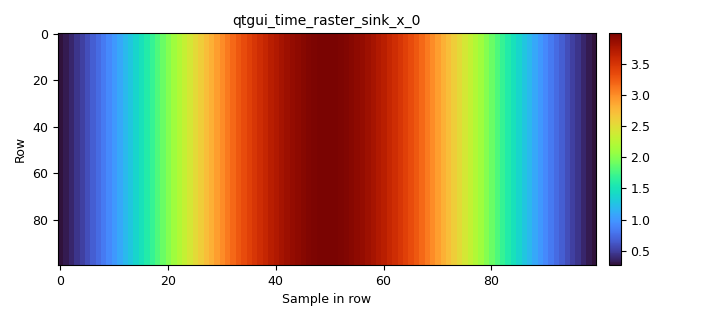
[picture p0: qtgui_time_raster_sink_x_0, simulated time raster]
options:
  parameters:
    author: citizenrich
    generate_options: qt_gui
    id: onedimension_simulation
    output_language: python
    realtime_scheduling: '1'
    title: onedimension_simulation
  states: {}

blocks:
- name: angle_radiansStartL
  id: variable
  parameters:
    value: (math.pi/180) * degreesTXL
  states: {}
- name: angle_radiansStartR
  id: variable
  parameters:
    value: (math.pi/180) * degreesTXR
  states: {}
- name: columns
  id: variable
  parameters:
    value: '100'
  states: {}
- name: degreesTXL
  id: variable_qtgui_range
  parameters:
    orient: Qt.Horizontal
    start: '0'
    step: '5'
    stop: maxtheta/2
    value: '0'
  states: {}
- name: degreesTXR
  id: variable_qtgui_range
  parameters:
    orient: Qt.Horizontal
    start: '0'
    step: '5'
    stop: maxtheta/2
    value: '0'
  states: {}
- name: left
  id: variable
  parameters:
    value: np.pad(shiftarrL, (0, int(columns/2)), 'constant')
  states: {}
- name: maxtheta
  id: variable
  parameters:
    value: '150'
  states: {}
- name: right
  id: variable
  parameters:
    value: np.flip(left, axis=0)
  states: {}
- name: rows
  id: variable
  parameters:
    value: '100'
  states: {}
- name: samp_rate
  id: variable
  parameters:
    value: '64000'
  states: {}
- name: scale
  id: variable_qtgui_range
  parameters:
    orient: Qt.Horizontal
    start: '0'
    step: '5'
    stop: '100'
    value: '55'
  states: {}
- name: shiftarrL
  id: variable
  parameters:
    value: np.radians(np.linspace(start=maxtheta, stop=0, num=int(columns/2), endpoint=False))
  states: {}
- name: variable_function_probe_0
  id: variable_function_probe
  parameters:
    block_id: blocks_probe_signal_x_0
    function_name: level
    poll_rate: '1'
    value: '1'
  states: {}
- name: variable_function_probe_0_0
  id: variable_function_probe
  parameters:
    block_id: blocks_probe_signal_x_0_0
    function_name: level
    poll_rate: '1'
    value: '0'
  states: {}
- name: variable_qtgui_label_0_0
  id: variable_qtgui_label
  parameters:
    label: Probe Signal Max
    type: int
    value: variable_function_probe_0
  states: {}
- name: variable_qtgui_label_0_0_0
  id: variable_qtgui_label
  parameters:
    label: Probe Signal Min
    type: int
    value: variable_function_probe_0_0
  states: {}
- name: analog_sig_source_x_0_0
  id: analog_sig_source_x
  parameters:
    amp: '1'
    freq: 1e3
    offset: '0'
    phase: '0'
    samp_rate: samp_rate
    type: complex
    waveform: analog.GR_COS_WAVE
  states: {}
- name: blocks_add_xx_0
  id: blocks_add_xx
  parameters:
    type: complex
  states: {}
- name: blocks_complex_to_mag_squared_0
  id: blocks_complex_to_mag_squared
  parameters: {}
  states: {}
- name: blocks_complex_to_magphase_0_0_0
  id: blocks_complex_to_magphase
  parameters: {}
  states: {}
- name: blocks_complex_to_magphase_0_0_0_0
  id: blocks_complex_to_magphase
  parameters: {}
  states: {}
- name: blocks_float_to_short_0
  id: blocks_float_to_short
  parameters:
    scale: scale
  states: {}
- name: blocks_magphase_to_complex_0_0_0_0
  id: blocks_magphase_to_complex
  parameters: {}
  states: {}
- name: blocks_magphase_to_complex_0_0_0_0_0
  id: blocks_magphase_to_complex
  parameters: {}
  states: {}
- name: blocks_max_xx_0
  id: blocks_max_xx
  parameters:
    type: float
    vlen: samp_rate
    vlen_out: '1'
  states: {}
- name: blocks_min_xx_0
  id: blocks_min_xx
  parameters:
    type: float
    vlen: samp_rate
    vlen_out: '1'
  states: {}
- name: blocks_multiply_const_vxx_0_0_0_0
  id: blocks_multiply_const_vxx
  parameters:
    comment: simulate tx phase diff
    const: complex(math.cos(angle_radiansStartL),math.sin(angle_radiansStartL))
    type: complex
  states: {}
- name: blocks_multiply_const_vxx_0_0_1
  id: blocks_multiply_const_vxx
  parameters:
    comment: simulate tx phase diff
    const: complex(math.cos(angle_radiansStartR),math.sin(angle_radiansStartR))
    type: complex
  states: {}
- name: blocks_probe_signal_x_0
  id: blocks_probe_signal_x
  parameters:
    type: float
  states: {}
- name: blocks_probe_signal_x_0_0
  id: blocks_probe_signal_x
  parameters:
    type: float
  states: {}
- name: blocks_repeat_0_0_0_0
  id: blocks_repeat
  parameters:
    interp: columns
    type: float
  states: {}
- name: blocks_repeat_0_0_0_0_0
  id: blocks_repeat
  parameters:
    interp: columns
    type: float
  states: {}
- name: blocks_repeat_0_0_0_0_0_1
  id: blocks_repeat
  parameters:
    interp: columns
    type: float
  states: {}
- name: blocks_repeat_0_0_0_0_1
  id: blocks_repeat
  parameters:
    interp: columns
    type: float
  states: {}
- name: blocks_stream_to_vector_0_1
  id: blocks_stream_to_vector
  parameters:
    num_items: samp_rate
    type: float
  states: {}
- name: blocks_sub_xx_0_0
  id: blocks_sub_xx
  parameters:
    type: float
  states: {}
- name: blocks_sub_xx_0_0_0
  id: blocks_sub_xx
  parameters:
    type: float
  states: {}
- name: blocks_throttle_0
  id: blocks_throttle
  parameters:
    samples_per_second: samp_rate
    type: complex
  states: {}
- name: blocks_vector_source_x_0_0_0
  id: blocks_vector_source_x
  parameters:
    repeat: 'True'
    type: float
    vector: left
  states: {}
- name: blocks_vector_source_x_0_0_0_0
  id: blocks_vector_source_x
  parameters:
    repeat: 'True'
    type: float
    vector: right
  states: {}
- name: import_1
  id: import
  parameters:
    imports: import numpy as np
  states: {}
- name: import_1_0
  id: import
  parameters:
    imports: import math
  states: {}
- name: qtgui_time_raster_sink_x_0
  id: qtgui_time_raster_sink_x
  parameters:
    color1: '1'
    ncols: rows
    nrows: columns
    samp_rate: samp_rate
    type: float
    update_time: '0.01'
    zmax: '5'
    zmin: '0'
  states: {}
- name: video_sdl_sink_1
  id: video_sdl_sink
  parameters:
    display_height: rows*6
    display_width: columns*6
    fps: '0'
    height: rows
    type: short
    width: columns
  states: {}

connections:
- [analog_sig_source_x_0_0, '0', blocks_throttle_0, '0']
- [blocks_add_xx_0, '0', blocks_complex_to_mag_squared_0, '0']
- [blocks_complex_to_mag_squared_0, '0', blocks_float_to_short_0, '0']
- [blocks_complex_to_mag_squared_0, '0', blocks_stream_to_vector_0_1, '0']
- [blocks_complex_to_mag_squared_0, '0', qtgui_time_raster_sink_x_0, '0']
- [blocks_complex_to_magphase_0_0_0, '0', blocks_repeat_0_0_0_0, '0']
- [blocks_complex_to_magphase_0_0_0, '1', blocks_repeat_0_0_0_0_0, '0']
- [blocks_complex_to_magphase_0_0_0_0, '0', blocks_repeat_0_0_0_0_1, '0']
- [blocks_complex_to_magphase_0_0_0_0, '1', blocks_repeat_0_0_0_0_0_1, '0']
- [blocks_float_to_short_0, '0', video_sdl_sink_1, '0']
- [blocks_magphase_to_complex_0_0_0_0, '0', blocks_add_xx_0, '0']
- [blocks_magphase_to_complex_0_0_0_0_0, '0', blocks_add_xx_0, '1']
- [blocks_max_xx_0, '0', blocks_probe_signal_x_0, '0']
- [blocks_min_xx_0, '0', blocks_probe_signal_x_0_0, '0']
- [blocks_multiply_const_vxx_0_0_0_0, '0', blocks_complex_to_magphase_0_0_0_0, '0']
- [blocks_multiply_const_vxx_0_0_1, '0', blocks_complex_to_magphase_0_0_0, '0']
- [blocks_repeat_0_0_0_0, '0', blocks_magphase_to_complex_0_0_0_0, '0']
- [blocks_repeat_0_0_0_0_0, '0', blocks_sub_xx_0_0, '0']
- [blocks_repeat_0_0_0_0_0_1, '0', blocks_sub_xx_0_0_0, '0']
- [blocks_repeat_0_0_0_0_1, '0', blocks_magphase_to_complex_0_0_0_0_0, '0']
- [blocks_stream_to_vector_0_1, '0', blocks_max_xx_0, '0']
- [blocks_stream_to_vector_0_1, '0', blocks_min_xx_0, '0']
- [blocks_sub_xx_0_0, '0', blocks_magphase_to_complex_0_0_0_0, '1']
- [blocks_sub_xx_0_0_0, '0', blocks_magphase_to_complex_0_0_0_0_0, '1']
- [blocks_throttle_0, '0', blocks_multiply_const_vxx_0_0_0_0, '0']
- [blocks_throttle_0, '0', blocks_multiply_const_vxx_0_0_1, '0']
- [blocks_vector_source_x_0_0_0, '0', blocks_sub_xx_0_0, '1']
- [blocks_vector_source_x_0_0_0_0, '0', blocks_sub_xx_0_0_0, '1']

metadata:
  file_format: 1
